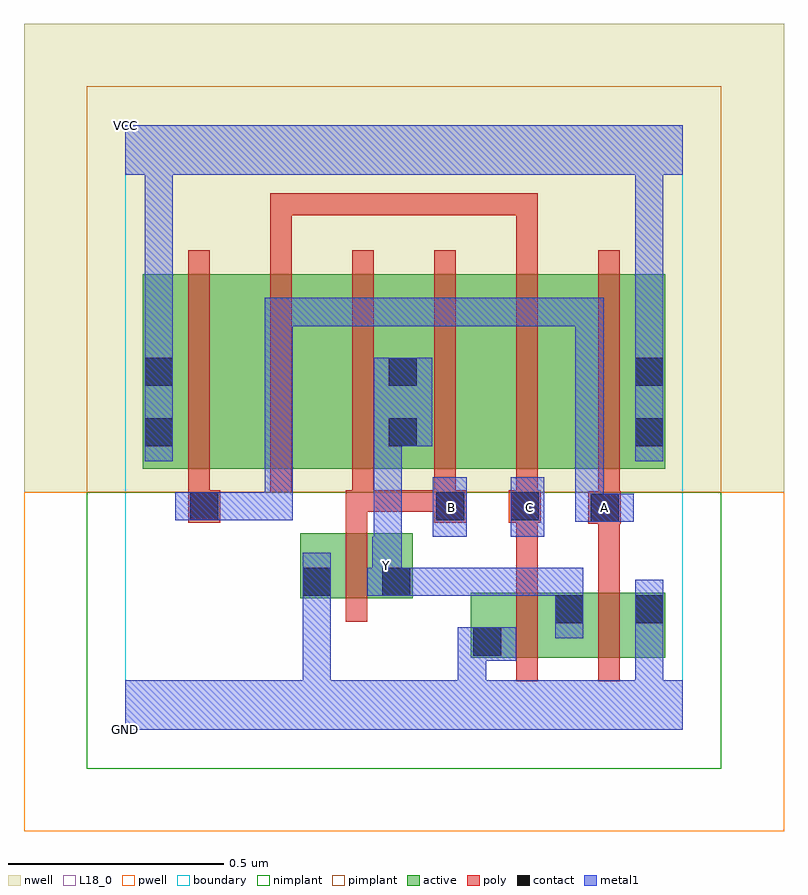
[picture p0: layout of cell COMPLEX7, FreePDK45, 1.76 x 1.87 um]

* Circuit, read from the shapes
.subckt COMPLEX7 A B C GND VCC Y
M1 Y B GND VSUBS nfet w=0.15u l=0.05u
M2 Y C GND VSUBS nfet w=0.15u l=0.05u
M3 GND A Y VSUBS nfet w=0.15u l=0.05u
M4 n1 A VCC n2 pfet w=0.45u l=0.05u
M5 n3 C n1 n2 pfet w=0.45u l=0.05u
M6 Y B n3 n2 pfet w=0.45u l=0.05u
M7 n4 B Y n2 pfet w=0.45u l=0.05u
M8 n5 C n4 n2 pfet w=0.45u l=0.05u
M9 VCC A n5 n2 pfet w=0.45u l=0.05u
.ends

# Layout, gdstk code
import gdstk
lib = gdstk.Library(unit=1e-6, precision=1e-09)
def R(c, l, rs):  # rectangles x0, y0, x1, y1
    for r in rs: c.add(gdstk.rectangle(r[:2], r[2:], *l))
def A(c, l, x, y, w, h, nx, ny, dx, dy):  # array of equal rectangles
    R(c, l, [(x+i*dx, y+j*dy, x+i*dx+w, y+j*dy+h) for i in range(nx) for j in range(ny)])
active = (1, 0)
pwell = (2, 0)
nwell = (3, 0)
nimplant = (4, 0)
pimplant = (5, 0)
poly = (9, 0)
contact = (10, 0)
metal1 = (11, 0)
L18_0 = (18, 0)
boundary = (235, 0)

complex7 = lib.new_cell('COMPLEX7')
R(complex7, active, [(0.8,0.167,0.875,0.317), (0.8,0.167,1.065,0.317), (0.99,0.167,1.25,0.317), (1.175,0.167,1.25,0.317), (0.99,0.2,1.065,0.317), (0.405,0.305,0.48,0.455), (0.405,0.305,0.665,0.455), (0.59,0.305,0.665,0.455), (0.04,0.605,0.115,1.055), (0.04,0.605,0.265,1.055), (0.265,0.605,0.455,1.055), (0.455,0.605,0.68,1.055), (0.605,0.605,0.68,1.055), (0.605,0.605,0.835,1.055), (0.835,0.605,1.025,1.055), (1.025,0.605,1.25,1.055), (1.175,0.605,1.25,1.055)])
R(complex7, pwell, [(-0.235,-0.235,1.525,0.55)])
R(complex7, nwell, [(-0.235,0.55,1.525,1.635)])
R(complex7, nimplant, [(-0.09,-0.09,1.38,0.55)])
R(complex7, pimplant, [(-0.09,0.55,1.38,1.49)])
A(complex7, poly, 0.525, 0.505, 0.05, 0.095, 3, 1, 0.19, 0)
A(complex7, poly, 0.145, 0.55, 0.05, 0.56, 6, 1, 0.19, 0)
R(complex7, poly, [(0.905,0.112,0.955,0.372), (1.095,0.112,1.145,0.372), (0.51,0.25,0.56,0.51), (0.905,0.322,0.955,0.53), (1.095,0.322,1.145,0.527), (0.51,0.46,0.56,0.555), (1.072,0.477,1.147,0.552), (0.145,0.48,0.22,0.555), (0.715,0.48,0.79,0.555), (0.887,0.48,0.962,0.555), (1.095,0.502,1.145,0.6), (0.145,0.505,0.195,0.6), (0.51,0.505,0.575,0.555), (0.525,0.505,0.765,0.555), (0.715,0.505,0.765,0.555), (0.715,0.505,0.765,0.555), (0.335,1.06,0.385,1.242), (0.905,1.06,0.955,1.242), (0.335,1.192,0.385,1.242), (0.335,1.192,0.385,1.242), (0.335,1.192,0.385,1.242), (0.335,1.192,0.632,1.242), (0.582,1.192,0.632,1.242), (0.582,1.192,0.765,1.242), (0.715,1.192,0.765,1.242), (0.715,1.192,0.765,1.242), (0.715,1.192,0.765,1.242), (0.715,1.192,0.955,1.242), (0.905,1.192,0.955,1.242), (0.905,1.192,0.955,1.242), (0.905,1.192,0.955,1.242)])
R(complex7, contact, [(0.805,0.172,0.87,0.237), (0.995,0.247,1.06,0.312), (1.18,0.247,1.245,0.312), (0.41,0.31,0.475,0.375), (0.595,0.31,0.66,0.375), (1.077,0.482,1.142,0.547), (0.15,0.485,0.215,0.55), (0.72,0.485,0.785,0.55), (0.892,0.485,0.957,0.55), (0.045,0.657,0.11,0.722), (0.61,0.657,0.675,0.722), (1.18,0.657,1.245,0.722), (0.045,0.797,0.11,0.862), (0.61,0.797,0.675,0.862), (1.18,0.797,1.245,0.862)])
R(complex7, metal1, [(0,0,1.29,0.115), (0.41,0.05,0.475,0.115), (0.41,0.05,0.475,0.115), (0.41,0.05,0.475,0.34), (0.77,0.05,0.835,0.225), (1.18,0.05,1.245,0.277), (0.77,0.16,0.835,0.225), (0.77,0.16,0.835,0.225), (0.77,0.16,0.835,0.225), (0.77,0.16,0.835,0.225), (0.77,0.16,0.905,0.237), (0.995,0.212,1.06,0.375), (1.18,0.212,1.245,0.277), (1.18,0.212,1.245,0.277), (1.18,0.212,1.245,0.277), (1.18,0.212,1.245,0.277), (1.18,0.212,1.245,0.347), (0.41,0.275,0.475,0.34), (0.41,0.275,0.475,0.34), (0.41,0.275,0.475,0.41), (0.56,0.31,0.695,0.375), (0.572,0.31,0.637,0.375), (0.572,0.31,0.64,0.447), (0.63,0.31,0.695,0.375), (0.63,0.31,0.695,0.375), (0.63,0.31,0.922,0.375), (0.857,0.31,0.922,0.375), (0.857,0.31,0.922,0.375), (0.857,0.31,0.922,0.375), (0.857,0.31,1.06,0.375), (0.575,0.382,0.64,0.722), (0.712,0.447,0.79,0.585), (0.892,0.447,0.97,0.585), (1.042,0.482,1.107,1), (1.042,0.482,1.107,0.547), (1.042,0.482,1.107,0.547), (1.042,0.482,1.177,0.547), (0.115,0.485,0.25,0.55), (0.185,0.485,0.25,0.55), (0.185,0.485,0.25,0.55), (0.185,0.485,0.387,0.55), (0.322,0.485,0.387,0.55), (0.322,0.485,0.387,0.55), (0.322,0.485,0.387,0.55), (0.322,0.485,0.387,1), (0.045,0.622,0.11,0.897), (1.18,0.622,1.245,0.897), (0.575,0.657,0.71,0.862), (0.045,0.832,0.11,1.35), (1.18,0.832,1.245,1.35), (0.322,0.935,0.387,1), (0.322,0.935,0.387,1), (0.322,0.935,0.387,1), (0.322,0.935,0.525,1), (0.46,0.935,0.525,1), (0.46,0.935,0.525,1), (0.46,0.935,0.525,1), (0.46,0.935,0.785,1), (0.72,0.935,0.785,1), (0.72,0.935,0.922,1), (0.857,0.935,0.922,1), (0.857,0.935,0.922,1), (0.857,0.935,0.922,1), (0.857,0.935,0.922,1), (0.857,0.935,0.922,1), (0.857,0.935,1.107,1), (1.042,0.935,1.107,1), (0,1.285,1.29,1.4), (0.045,1.285,0.11,1.35), (0.045,1.285,0.11,1.35), (1.18,1.285,1.245,1.35), (1.18,1.285,1.245,1.35)])
R(complex7, L18_0, [(0,0,1.29,0.115), (0.41,0.05,0.475,0.115), (0.41,0.05,0.475,0.115), (0.41,0.05,0.475,0.34), (0.77,0.05,0.835,0.225), (1.18,0.05,1.245,0.277), (0.77,0.16,0.835,0.225), (0.77,0.16,0.835,0.225), (0.77,0.16,0.835,0.225), (0.77,0.16,0.835,0.225), (0.77,0.16,0.905,0.237), (0.995,0.212,1.06,0.375), (1.18,0.212,1.245,0.277), (1.18,0.212,1.245,0.277), (1.18,0.212,1.245,0.277), (1.18,0.212,1.245,0.277), (1.18,0.212,1.245,0.347), (0.41,0.275,0.475,0.34), (0.41,0.275,0.475,0.34), (0.41,0.275,0.475,0.41), (0.56,0.31,0.695,0.375), (0.572,0.31,0.637,0.375), (0.572,0.31,0.64,0.447), (0.63,0.31,0.695,0.375), (0.63,0.31,0.695,0.375), (0.63,0.31,0.922,0.375), (0.857,0.31,0.922,0.375), (0.857,0.31,0.922,0.375), (0.857,0.31,0.922,0.375), (0.857,0.31,1.06,0.375), (0.572,0.347,0.637,0.412), (0.575,0.382,0.64,0.722), (0.712,0.447,0.79,0.585), (0.892,0.447,0.97,0.585), (0.722,0.482,0.787,0.547), (0.902,0.482,0.967,0.547), (1.042,0.482,1.107,0.547), (1.042,0.482,1.107,0.547), (1.042,0.482,1.107,1), (1.042,0.482,1.177,0.547), (1.077,0.482,1.142,0.547), (0.115,0.485,0.25,0.55), (0.185,0.485,0.25,0.55), (0.185,0.485,0.25,0.55), (0.185,0.485,0.387,0.55), (0.322,0.485,0.387,0.55), (0.322,0.485,0.387,0.55), (0.322,0.485,0.387,0.55), (0.322,0.485,0.387,1), (0.045,0.622,0.11,0.897), (1.18,0.622,1.245,0.897), (0.575,0.657,0.71,0.862), (0.045,0.832,0.11,1.35), (1.18,0.832,1.245,1.35), (0.322,0.935,0.387,1), (0.322,0.935,0.387,1), (0.322,0.935,0.387,1), (0.322,0.935,0.525,1), (0.46,0.935,0.525,1), (0.46,0.935,0.525,1), (0.46,0.935,0.525,1), (0.46,0.935,0.785,1), (0.72,0.935,0.785,1), (0.72,0.935,0.922,1), (0.857,0.935,0.922,1), (0.857,0.935,0.922,1), (0.857,0.935,0.922,1), (0.857,0.935,0.922,1), (0.857,0.935,0.922,1), (0.857,0.935,1.107,1), (1.042,0.935,1.107,1), (0,1.285,1.29,1.4), (0.045,1.285,0.11,1.35), (0.045,1.285,0.11,1.35), (1.18,1.285,1.245,1.35), (1.18,1.285,1.245,1.35)])
R(complex7, boundary, [(0,0,1.29,1.4)])
complex7.add(gdstk.Label('A', (1.11,0.515), layer=11, texttype=0))
complex7.add(gdstk.Label('B', (0.755,0.515), layer=11, texttype=0))
complex7.add(gdstk.Label('C', (0.935,0.515), layer=11, texttype=0))
complex7.add(gdstk.Label('Y', (0.605,0.38), layer=11, texttype=0))
complex7.add(gdstk.Label('VCC', (0,1.4), layer=11, texttype=0))
complex7.add(gdstk.Label('GND', (0,0), layer=11, texttype=0))

lib.write_gds('COMPLEX7.gds')
